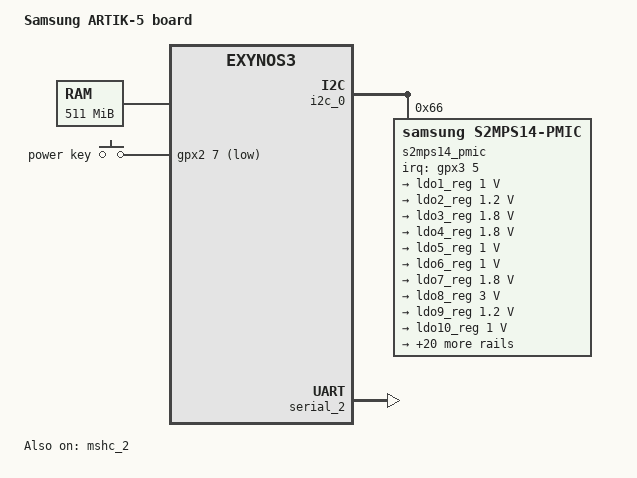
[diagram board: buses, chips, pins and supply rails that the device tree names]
/*
 * Samsung's Exynos3250 based ARTIK-5 board device tree source
 *
 * Copyright (c) 2015 Samsung Electronics Co., Ltd.
 *		http://www.samsung.com
 *
 * Device tree source file for Samsung's ARTIK-5 board which is based on
 * Samsung Exynos3250 SoC.
 *
 * This program is free software; you can redistribute it and/or modify
 * it under the terms of the GNU General Public License version 2 as
 * published by the Free Software Foundation.
 */

/dts-v1/;
#include "exynos3250.dtsi"
#include <dt-bindings/input/input.h>
#include <dt-bindings/gpio/gpio.h>

/ {
	model = "Samsung ARTIK-5 board";
	compatible = "samsung,artik-5", "samsung,exynos3250", "samsung,exynos3";

	chosen {
		bootargs="console=ttySAC2,115200N8 loglevel=7 root=/dev/mmcblk0p2 rw rootfstype=ext4 rootwait earlyprintk panic=5";
		linux,stdout-path = &serial_2;
	};

	memory {
		reg =  <0x40000000 0x1ff00000>;
	};

	firmware@0205F000 {
		compatible = "samsung,secure-firmware";
		reg = <0x0205F000 0x1000>;
	};

	gpio_keys {
		compatible = "gpio-keys";

		power_key {
			gpios = <&gpx2 7 GPIO_ACTIVE_LOW>;
			linux,code = <KEY_POWER>;
			label = "power key";
			debounce-interval = <10>;
			gpio-key,wakeup;
		};
	};
};

&i2c_0 {
	#address-cells = <1>;
	#size-cells = <0>;
	samsung,i2c-sda-delay = <100>;
	samsung,i2c-slave-addr = <0x10>;
	samsung,i2c-max-bus-freq = <100000>;
	status = "okay";

	s2mps14_pmic@66 {
		compatible = "samsung,s2mps14-pmic";
		interrupt-parent = <&gpx3>;
		interrupts = <5 0>;
		reg = <0x66>;
		wakeup;

		s2mps14_osc: clocks {
			compatible = "samsung,s2mps14-clk";
			#clock-cells = <1>;
			clock-output-names = "s2mps14_ap", "unused",
				"s2mps14_bt";
		};

		regulators {
			ldo1_reg: LDO1 {
				regulator-name = "VDD_ALIVE_AP";
				regulator-min-microvolt = <1000000>;
				regulator-max-microvolt = <1000000>;
				regulator-always-on;

				regulator-state-mem {
					regulator-on-in-suspend;
				};
			};

			ldo2_reg: LDO2 {
				regulator-name = "VDDQM1";
				regulator-min-microvolt = <1200000>;
				regulator-max-microvolt = <1200000>;
				regulator-always-on;

				regulator-state-mem {
					regulator-off-in-suspend;
				};
			};

			ldo3_reg: LDO3 {
				regulator-name = "VDD1_E";
				regulator-min-microvolt = <1800000>;
				regulator-max-microvolt = <1800000>;
				regulator-always-on;

				regulator-state-mem {
					regulator-off-in-suspend;
				};
			};

			ldo4_reg: LDO4 {
				regulator-name = "AVDD_PLL1_AP";
				regulator-min-microvolt = <1800000>;
				regulator-max-microvolt = <1800000>;
				regulator-always-on;

				regulator-state-mem {
					regulator-off-in-suspend;
				};
			};

			ldo5_reg: LDO5 {
				regulator-name = "VDDI_PLL_ISO_AP";
				regulator-min-microvolt = <1000000>;
				regulator-max-microvolt = <1000000>;
				regulator-always-on;

				regulator-state-mem {
					regulator-off-in-suspend;
				};
			};

			ldo6_reg: LDO6 {
				regulator-name = "VDD_USB_AP";
				regulator-min-microvolt = <1000000>;
				regulator-max-microvolt = <1000000>;
				regulator-always-on;

				regulator-state-mem {
					regulator-off-in-suspend;
				};
			};

			ldo7_reg: LDO7 {
				regulator-name = "VDD18P_AP";
				regulator-min-microvolt = <1800000>;
				regulator-max-microvolt = <1800000>;
				regulator-always-on;

				regulator-state-mem {
					regulator-off-in-suspend;
				};
			};

			ldo8_reg: LDO8 {
				regulator-name = "AVDD33_UOTG_AP";
				regulator-min-microvolt = <3000000>;
				regulator-max-microvolt = <3000000>;
				regulator-always-on;

				regulator-state-mem {
					regulator-off-in-suspend;
				};
			};

			ldo9_reg: LDO9 {
				regulator-name = "VDD2_E";
				regulator-min-microvolt = <1200000>;
				regulator-max-microvolt = <1200000>;
				regulator-always-on;

				regulator-state-mem {
					regulator-on-in-suspend;
				};
			};

			ldo10_reg: LDO10 {
				regulator-name = "UNUSED_LDO10";
				regulator-min-microvolt = <1000000>;
				regulator-max-microvolt = <1000000>;

				regulator-state-mem {
					regulator-off-in-suspend;
				};
			};

			ldo11_reg: LDO11 {
				regulator-name = "VDD";
				regulator-min-microvolt = <1800000>;
				regulator-max-microvolt = <1800000>;
				samsung,ext-control-gpios = <&gpk0 2 0>;
			};

			ldo12_reg: LDO12 {
				regulator-name = "VDDF";
				regulator-min-microvolt = <2800000>;
				regulator-max-microvolt = <2800000>;
				samsung,ext-control-gpios = <&gpk0 2 0>;
			};

			ldo13_reg: LDO13 {
				regulator-name = "VDD_2.8V_ZB";
				regulator-min-microvolt = <2800000>;
				regulator-max-microvolt = <2800000>;

				regulator-state-mem {
					regulator-off-in-suspend;
				};
			};

			ldo14_reg: LDO14 {
				regulator-name = "VDD_MOT_A2.7V";
				regulator-min-microvolt = <2700000>;
				regulator-max-microvolt = <2700000>;

				regulator-state-mem {
					regulator-off-in-suspend;
				};
			};

			ldo15_reg: LDO15 {
				regulator-name = "TSP_AVDD_3.3V";
				regulator-min-microvolt = <3300000>;
				regulator-max-microvolt = <3300000>;

				regulator-state-mem {
					regulator-off-in-suspend;
				};
			};

			ldo16_reg: LDO16 {
				regulator-name = "VCC_LCD_3.3V";
				regulator-min-microvolt = <3300000>;
				regulator-max-microvolt = <3300000>;

				regulator-state-mem {
					regulator-off-in-suspend;
				};
			};

			ldo17_reg: LDO17 {
				regulator-name = "VCC_3.3V_PERI";
				regulator-min-microvolt = <3300000>;
				regulator-max-microvolt = <3300000>;

				regulator-state-mem {
					regulator-off-in-suspend;
				};
			};

			ldo18_reg: LDO18 {
				regulator-name = "VCC_2.8V_PERI_Device";
				regulator-min-microvolt = <2800000>;
				regulator-max-microvolt = <2800000>;

				regulator-state-mem {
					regulator-off-in-suspend;
				};
			};

			ldo19_reg: LDO19 {
				regulator-name = "VCC_AVDD_1.8V";
				regulator-min-microvolt = <1800000>;
				regulator-max-microvolt = <1800000>;

				regulator-state-mem {
					regulator-off-in-suspend;
				};
			};

			ldo20_reg: LDO20 {
				regulator-name = "VCC_1.8V_PERI_Device";
				regulator-min-microvolt = <1800000>;
				regulator-max-microvolt = <1800000>;

				regulator-state-mem {
					regulator-off-in-suspend;
				};
			};

			ldo21_reg: LDO21 {
				regulator-name = "ZBCORE_1V25";
				regulator-min-microvolt = <1250000>;
				regulator-max-microvolt = <1250000>;

				regulator-state-mem {
					regulator-off-in-suspend;
				};
			};

			ldo22_reg: LDO22 {
				regulator-name = "UNUSED_LDO22";
				regulator-min-microvolt = <1200000>;
				regulator-max-microvolt = <1200000>;

				regulator-state-mem {
					regulator-off-in-suspend;
				};
			};

			ldo23_reg: LDO23 {
				regulator-name = "VCC_1.8V_PERI";
				regulator-min-microvolt = <1800000>;
				regulator-max-microvolt = <1800000>;
				regulator-always-on;
			};

			ldo24_reg: LDO24 {
				regulator-name = "VCC_3.0V_WIFI";
				regulator-min-microvolt = <3000000>;
				regulator-max-microvolt = <3000000>;

				regulator-state-mem {
					regulator-off-in-suspend;
				};
			};

			ldo25_reg: LDO25 {
				regulator-name = "UNUSED_LDO25";
				regulator-min-microvolt = <3000000>;
				regulator-max-microvolt = <3000000>;

				regulator-state-mem {
					regulator-off-in-suspend;
				};
			};

			buck1_reg: BUCK1 {
				regulator-name = "VDD_MIF_AP";
				regulator-min-microvolt = <1000000>;
				regulator-max-microvolt = <1000000>;
				regulator-always-on;

				regulator-state-mem {
					regulator-off-in-suspend;
				};
			};

			buck2_reg: BUCK2 {
				regulator-name = "VDD_CPU_AP";
				regulator-min-microvolt = <850000>;
				regulator-max-microvolt = <1150000>;
				regulator-always-on;

				regulator-state-mem {
					regulator-off-in-suspend;
				};
			};

			buck3_reg: BUCK3 {
				regulator-name = "VDD_INT_AP";
				regulator-min-microvolt = <850000>;
				regulator-max-microvolt = <1000000>;
				regulator-always-on;

				regulator-state-mem {
					regulator-off-in-suspend;
				};
			};

			buck4_reg: BUCK4 {
				regulator-name = "VCC_SUB_1.95V";
				regulator-min-microvolt = <1950000>;
				regulator-max-microvolt = <1950000>;
				regulator-always-on;

				regulator-state-mem {
					regulator-on-in-suspend;
				};
			};

			buck5_reg: BUCK5 {
				regulator-name = "VCC_SUB_1.35V";
				regulator-min-microvolt = <1350000>;
				regulator-max-microvolt = <1350000>;
				regulator-always-on;

				regulator-state-mem {
					regulator-on-in-suspend;
				};
			};
		};
	};
};

&serial_2 {
	status = "okay";
};

&mshc_2 {
	status = "okay";
	card-detect-delay = <200>;
	samsung,dw-mshc-ciu-div = <3>;
	samsung,dw-mshc-sdr-timing = <0 4>;
	samsung,dw-mshc-ddr-timing = <0 2>;
	pinctrl-names = "default";
	broken-cd;
	disable-wp;
	non-removable;
	pinctrl-0 = <&sd2_clk &sd2_cmd &sd2_bus1 &sd2_bus4>;
	bus-width = <4>;
	num-slots = <1>;
	cap-sd-highspeed;
};

&xusbxti {
	clock-frequency = <24000000>;
};

